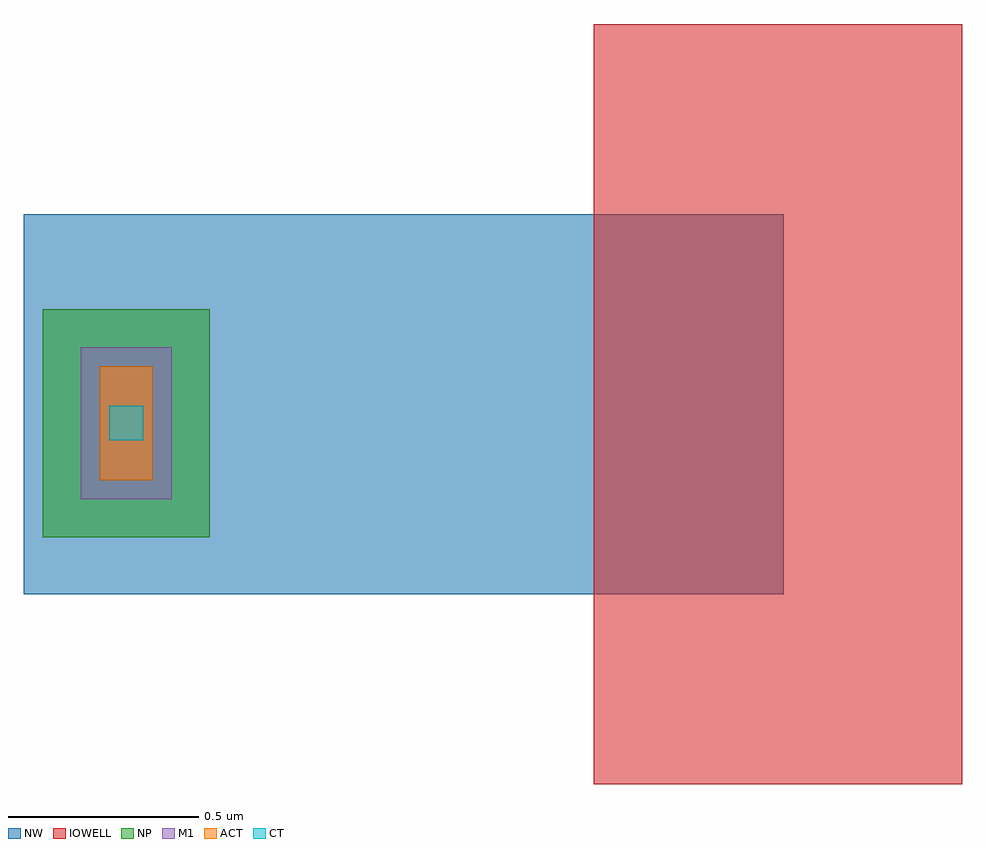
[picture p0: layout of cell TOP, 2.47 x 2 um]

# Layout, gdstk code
import gdstk
lib = gdstk.Library(unit=1e-6, precision=1e-09)
def R(c, l, rs):  # rectangles x0, y0, x1, y1
    for r in rs: c.add(gdstk.rectangle(r[:2], r[2:], *l))
ACT = (2, 1)
NW = (9, 1)
IOWELL = (28, 1)
NP = (52, 1)
CT = (72, 1)
M1 = (81, 1)

top = lib.new_cell('TOP')
R(top, ACT, [(0.2,0.3,0.34,0.6)])
R(top, NW, [(0,0,2,1)])
R(top, IOWELL, [(1.5,-0.5,2.47,1.5)])
R(top, NP, [(0.05,0.15,0.49,0.75)])
R(top, CT, [(0.225,0.405,0.315,0.495)])
R(top, M1, [(0.15,0.25,0.39,0.65)])

lib.write_gds('TOP.gds')
